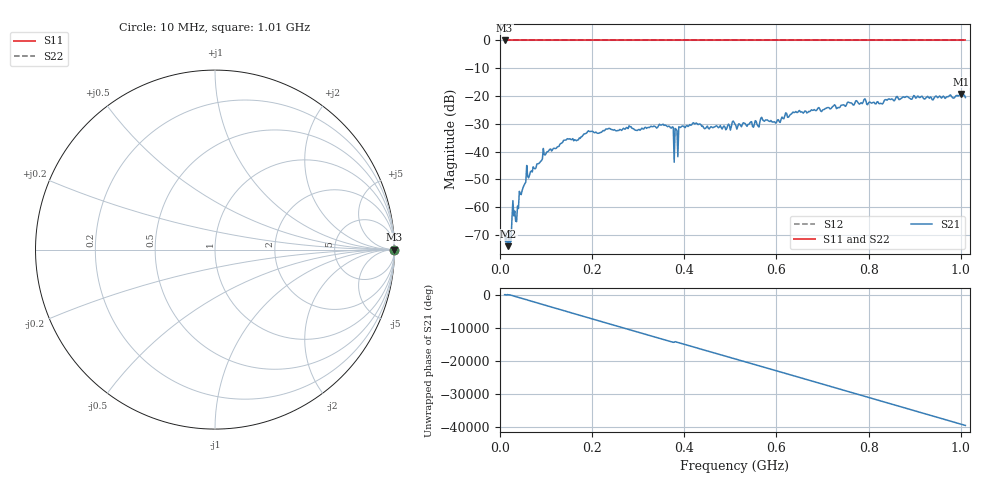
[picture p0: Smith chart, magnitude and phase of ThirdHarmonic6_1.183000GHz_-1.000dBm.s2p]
! 8/16/2025 12:06:05 PM
! C:\ANRITSUVNA\TEMP\TEMP.S2P
! CHANNEL.1
! TR.MEASUREMENT
! RAW.DATA
! RF.CORRECTION.OFF
! AVERAGING.OFF
! IF.BANDWIDTH: 5KHZ
! SWEEPTYPE:  FREQ.SWEEP(Linear)
! Reference Plane Port Info
! PORT:  PORT1  PORT2
! DISTANCE:  0  m  0  m
! TIME:  0  s  0  s
! PHASE.OFFSET:  0  deg.  0  deg.
! LOSS:  0  dB  0  dB
! REF.LOSS:  0  dB  0  dB
! REF.FREQ:  0  Hz  0  Hz
! Power Info
! POWER:  -20  dBm  -20  dBm
! EFF.POWER:  -20  dBm  -20  dBm
! SOURCE.ATTEN:  0  dB  0  dB
! TEST.ATTEN:  0  dB  0  dB
# GHZ S RI R 50.0
! FREQ.GHZ  S11RE  S11IM  S21RE  S21IM  S12RE  S12IM  S22RE  S22IM
!; PortSelection: Port_12
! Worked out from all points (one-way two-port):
!   501 points, 10 MHz to 1.01 GHz, reference 50 ohm
!   highest |S21| = -19.26 dB at 1 GHz (marker M1); lowest = -74.0 dB at 18 MHz (marker M2)
!   lowest |S11| = 0.0 dB at 10 MHz (marker M3)
!   |S11| at or under -10 dB: nowhere
!   |S22| runs from 0.0 to 0.0 dB; largest |S21 - S12| = 1.1
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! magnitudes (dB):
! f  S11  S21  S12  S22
! 10 MHz  0.0  -69.0  0.0  0.0
! 18 MHz  0.0  -74.0  0.0  0.0
! 20 MHz  0.0  -68.6  0.0  0.0
! 30 MHz  0.0  -63.1  0.0  0.0
! 36 MHz  0.0  -65.2  0.0  0.0
! 46 MHz  0.0  -55.5  0.0  0.0
! 62 MHz  0.0  -49.4  0.0  0.0
! 98 MHz  0.0  -41.2  0.0  0.0
! 178 MHz  0.0  -34.6  0.0  0.0
! 344 MHz  0.0  -30.7  0.0  0.0
! 372 MHz  0.0  -31.5  0.0  0.0
! 374 MHz  0.0  -31.1  0.0  0.0
! 380 MHz  0.0  -31.7  0.0  0.0
! 382 MHz  0.0  -31.9  0.0  0.0
! 384 MHz  0.0  -32.4  0.0  0.0
! 392 MHz  0.0  -31.3  0.0  0.0
! 510 MHz  0.0  -30.1  0.0  0.0
! 596 MHz  0.0  -29.3  0.0  0.0
! 678 MHz  0.0  -25.2  0.0  0.0
! 844 MHz  0.0  -21.0  0.0  0.0
! 1 GHz  0.0  -19.3  0.0  0.0
! 1.01 GHz  0.0  -20.5  0.0  0.0
